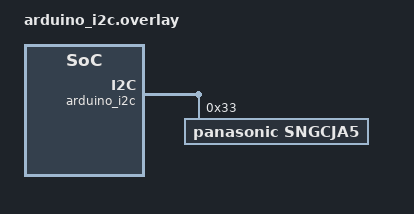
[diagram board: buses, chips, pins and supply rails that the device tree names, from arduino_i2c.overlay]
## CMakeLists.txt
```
# SPDX-License-Identifier: Apache-2.0

cmake_minimum_required(VERSION 3.20.0)

find_package(Zephyr REQUIRED HINTS $ENV{ZEPHYR_BASE})
project(particulate_matter)

target_sources(app PRIVATE src/main.c)
```

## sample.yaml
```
sample:
  name: particulate_matter sensor sample
tests:
  sample.sensor.sngcja5:
    build_only: true
    platform_allow: pan1780_evb pan1770_evb pan1781_evb pan1782_evb
    tags: sensors
    integration_platforms:
      - pan1781_evb
    depends_on: arduino_i2c
    extra_args: "DTC_OVERLAY_FILE=arduino_i2c.overlay"
```

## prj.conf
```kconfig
CONFIG_STDOUT_CONSOLE=y
CONFIG_SENSOR_LOG_LEVEL_INF=y
CONFIG_LOG=y
CONFIG_LOG_BUFFER_SIZE=2048
CONFIG_I2C=y
CONFIG_SENSOR=y
```

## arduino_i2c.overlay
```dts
/*
 * Copyright (c) 2023 Panasonic Industrial Devices Europe GmbH
 *
 * SPDX-License-Identifier: Apache-2.0
 */

 / {
	aliases {
		particle0 = &sngcja5;
	};
};

&arduino_i2c {
	status = "okay";
	sngcja5: sngcja5@33 {
		compatible = "panasonic,sngcja5";
		reg = <0x33>;
	};
};
```

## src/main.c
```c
/*
 * Copyright (c) 2023 Panasonic Industrial Devices Europe GmbH
 *
 * SPDX-License-Identifier: Apache-2.0
 */

#include <zephyr/kernel.h>
#include <zephyr/device.h>
#include <zephyr/devicetree.h>
#include <zephyr/drivers/sensor.h>

#define PARTICLE_ALIAS(i) DT_ALIAS(_CONCAT(particle, i))
#define PARTICLE_SENSOR(i, _)                                                               \
	IF_ENABLED(DT_NODE_EXISTS(PARTICLE_ALIAS(i)), (DEVICE_DT_GET(PARTICLE_ALIAS(i)),))

static const struct device *const sensors[] = {LISTIFY(10, PARTICLE_SENSOR, ())};

static int print_particle_values(const struct device *dev)
{
	int ret;
	struct sensor_value sensor_values_particle_count[6];
	struct sensor_value sensor_values_pm_1_0;
	struct sensor_value sensor_values_pm_2_5;
	struct sensor_value sensor_values_pm_10;

	ret = sensor_sample_fetch(dev);
	if (ret) {
		printk("Failed to fetch a sample, %d\n", ret);
		return ret;
	}

	ret = sensor_channel_get(dev, SENSOR_CHAN_PARTICLE_COUNT,
					&sensor_values_particle_count[0]);
	if (ret) {
		printk("Failed to get particle count values, %d\n", ret);
		return ret;
	}

	ret = sensor_channel_get(dev, SENSOR_CHAN_PM_1_0, &sensor_values_pm_1_0);
	if (ret) {
		printk("Failed to get pm_1_0 value, %d\n", ret);
		return ret;
	}

	ret = sensor_channel_get(dev, SENSOR_CHAN_PM_2_5, &sensor_values_pm_2_5);
	if (ret) {
		printk("Failed to get pm_1_0 value, %d\n", ret);
		return ret;
	}

	ret = sensor_channel_get(dev, SENSOR_CHAN_PM_10, &sensor_values_pm_10);
	if (ret) {
		printk("Failed to get pm_1_0 value, %d\n", ret);
		return ret;
	}

	printk("new sample:\n");
	printk("pc0_5: %i\n", sensor_values_particle_count[0].val1);
	printk("pc1_0: %i\n", sensor_values_particle_count[1].val1);
	printk("pc2_5: %i\n", sensor_values_particle_count[2].val1);
	printk("pc5_0: %i\n", sensor_values_particle_count[3].val1);
	printk("pc7_5: %i\n", sensor_values_particle_count[4].val1);
	printk("pc10_0: %i\n", sensor_values_particle_count[5].val1);
	printk("pm1_0: %i.%i\n", sensor_values_pm_1_0.val1, sensor_values_pm_1_0.val2);
	printk("pm2_5: %i.%i\n", sensor_values_pm_2_5.val1, sensor_values_pm_2_5.val2);
	printk("pm10_0: %i.%i\n\n", sensor_values_pm_10.val1, sensor_values_pm_10.val2);

	return 0;
}

int main(void)
{
	int ret;

	for (size_t i = 0; i < ARRAY_SIZE(sensors); i++) {
		if (!device_is_ready(sensors[i])) {
			printk("sensor: device %s not ready.\n", sensors[i]->name);
			return 0;
		}
		printk("Found device \"%s\", getting sensor data\n", sensors[i]->name);
	}

	while (1) {
		for (size_t i = 0; i < ARRAY_SIZE(sensors); i++) {
			ret = print_particle_values(sensors[i]);
			if (ret < 0) {
				return 0;
			}
		}
		k_msleep(1000);
	}
	return 0;
}
```
